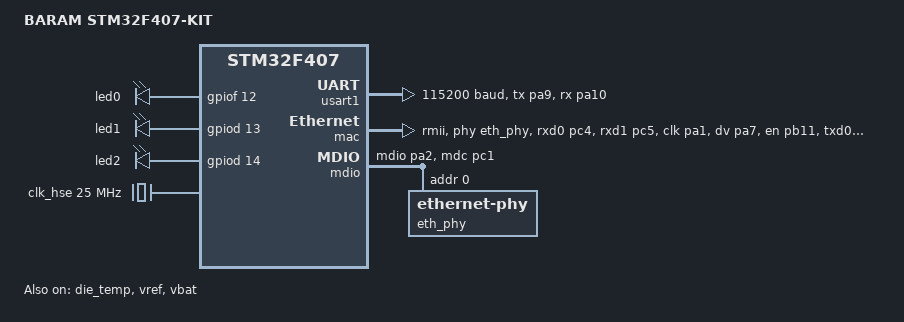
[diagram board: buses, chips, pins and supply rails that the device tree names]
/*
 * Copyright (c) 2017 Linaro Limited
 *
 * SPDX-License-Identifier: Apache-2.0
 */

/dts-v1/;
#include <st/f4/stm32f407Xg.dtsi>
#include <st/f4/stm32f407z(e-g)tx-pinctrl.dtsi>
#include <zephyr/dt-bindings/input/input-event-codes.h>

/ {
	model = "BARAM STM32F407-KIT";
	compatible = "st,stm32f407_kit";

	chosen {
		// zephyr,shell-uart = &usart2;
		zephyr,sram = &sram0;
		zephyr,flash = &flash0;
		zephyr,ccm = &ccm0;
		zephyr,console = &usart1;
	};

	leds {
		compatible = "gpio-leds";

		led0: led_0 {
			gpios = <&gpiof 12 GPIO_ACTIVE_HIGH>;
		};

		led1: led_1 {
			gpios = <&gpiod 13 GPIO_ACTIVE_HIGH>;
		};
    
		led2: led_2 {
			gpios = <&gpiod 14 GPIO_ACTIVE_HIGH>;
		};    
	};

};

&clk_lsi {
	status = "okay";
};

&clk_hse {
	clock-frequency = <DT_FREQ_M(25)>;
	status = "okay";
};

&pll {
	div-m = <25>;
	mul-n = <336>;
	div-p = <2>;
	div-q = <7>;
	clocks = <&clk_hse>;
	status = "okay";
};

&rcc {
	clocks = <&pll>;
	clock-frequency = <DT_FREQ_M(168)>;
	ahb-prescaler = <1>;
	apb1-prescaler = <4>;
	apb2-prescaler = <2>;
};

&die_temp {
	status = "okay";
};

&vref {
	status = "okay";
};

&vbat {
	status = "okay";
};

&dma1 {
	status = "okay";
};

&usart1 {
	pinctrl-0 = <&usart1_tx_pa9 &usart1_rx_pa10>;
	pinctrl-names = "default";
	current-speed = <115200>;
	status = "okay";
};

&mac {
	status = "okay";
	pinctrl-0 = < &eth_rxd0_pc4
                &eth_rxd1_pc5
                &eth_ref_clk_pa1
                &eth_crs_dv_pa7
                &eth_tx_en_pb11
                &eth_txd0_pg13
                &eth_txd1_pg14>;
	pinctrl-names = "default";
	phy-connection-type = "rmii";
	phy-handle = <&eth_phy>;
};

&mdio {
	status = "okay";
	pinctrl-0 = <&eth_mdio_pa2 &eth_mdc_pc1>;
	pinctrl-names = "default";

	eth_phy: ethernet-phy@0 {
		compatible = "ethernet-phy";
		reg = <0x00>;
	};
};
